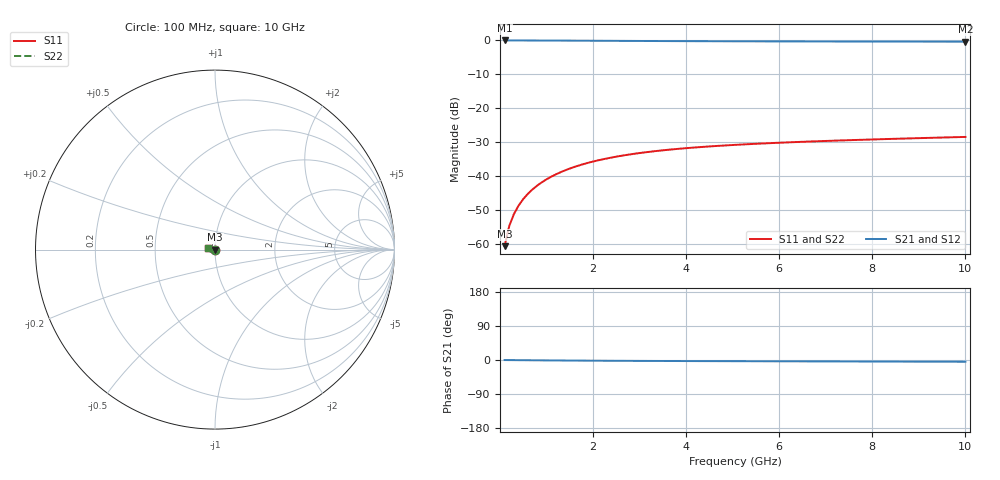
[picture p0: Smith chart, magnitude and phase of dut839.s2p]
! Touchstone file exported from HFSS 2024.1.0
!  File:  C:/UserFiles/LocalFiles/RDL_TSV_Batchsim/temp_TSV1_839_1779879883.aedt
!  Generated:  07:10:09 PM May 27, 2026
!  Design:  TSV1
!  Project:  temp_TSV1_839_1779879883
!  Setup:  Setup1
!  Solution:  Sweep
! Variables:
!  dtsv = 8.81um
!  hbump = 3um
!  htsv = 70.73um
!  lrdl = 252.1521522um
!  p = 40
!  p1 = 50.35um
!  t = 500um
!  trdl = 3um
!  wrdl = 24.89489489um
# GHz S MA R 50.000000
! Terminal data exported
! Port[1] = TSV22_T1
! Port[2] = TSV22_T2
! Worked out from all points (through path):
!   100 points, 100 MHz to 10 GHz, reference 50 ohm
!   highest |S21| = 0.00 dB at 100 MHz (marker M1); lowest = -0.4 dB at 10 GHz (marker M2)
!   lowest |S11| = -60.5 dB at 100 MHz (marker M3), VSWR 1.00, Z = 50 - j0.0934 ohm
!   |S11| at or under -10 dB: start of sweep to end of sweep
!   |S22| runs from -60.5 to -28.4 dB; largest |S21 - S12| = 6.4e-15
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0.1  0.0009444 -81.3  0.9998 -0.1  0.9998 -0.1  0.0009444 -81.3
! Gamma 0 0 0 0
! Port Impedance 50 0 50 0
0.2  0.001872 -88.3  0.9997 -0.2  0.9997 -0.2  0.001872 -88.3
0.3  0.002804 -91.9  0.9995 -0.3  0.9995 -0.3  0.002804 -91.9
0.4  0.003731 -94.8  0.9993 -0.4  0.9993 -0.4  0.003731 -94.8
0.5  0.004651 -97.2  0.999 -0.5  0.999 -0.5  0.004651 -97.2
0.6  0.005561 -99.5  0.9987 -0.6  0.9987 -0.6  0.005561 -99.5
0.7  0.00646 -101.6  0.9983 -0.7  0.9983 -0.7  0.00646 -101.6
0.8  0.007345 -103.7  0.9978 -0.8  0.9978 -0.8  0.007345 -103.7
0.9  0.008215 -105.7  0.9973 -0.9  0.9973 -0.9  0.008216 -105.7
1.1  0.009908 -109.5  0.9962 -1.1  0.9962 -1.1  0.009908 -109.5
1.4  0.01231 -115.0  0.9943 -1.4  0.9943 -1.4  0.01231 -115.0
1.6  0.01381 -118.5  0.9929 -1.5  0.9929 -1.5  0.01381 -118.5
1.8  0.01523 -121.8  0.9915 -1.7  0.9915 -1.7  0.01523 -121.8
2.1  0.01721 -126.6  0.9892 -1.9  0.9892 -1.9  0.01721 -126.6
2.5  0.01957 -132.5  0.9862 -2.1  0.9862 -2.1  0.01957 -132.5
2.9  0.02163 -138.0  0.9834 -2.3  0.9834 -2.3  0.02163 -138.0
3.4  0.02384 -144.2  0.9801 -2.6  0.9801 -2.6  0.02384 -144.2
4.2  0.02672 -152.9  0.9755 -2.9  0.9755 -2.9  0.02672 -152.9
5.1  0.02927 -161.2  0.9714 -3.2  0.9714 -3.2  0.02927 -161.2
6.7  0.03272 -173.4  0.9662 -3.7  0.9662 -3.7  0.03272 -173.4
8.4  0.03566 176.2  0.9625 -4.2  0.9625 -4.2  0.03566 176.2
10  0.03814 168.0  0.9602 -4.7  0.9602 -4.7  0.03814 168.0
